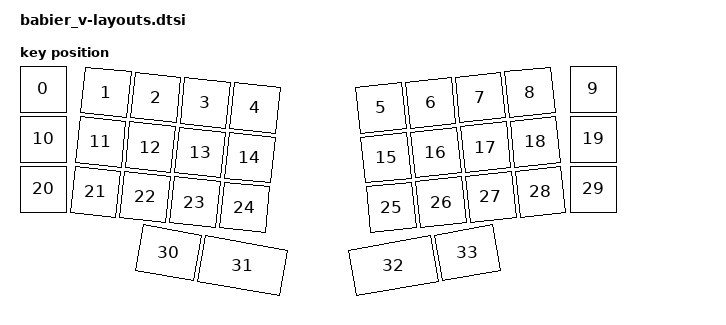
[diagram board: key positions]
#include <physical_layouts.dtsi>

/ {
    babier_v_layout: babier_v_layout {
        compatible = "zmk,physical-layout";
        display-name = "Default";

        keys  //                     w   h    x    y     rot    rx    ry
            = <&key_physical_attrs 100 100    0    0       0     0     0>
            , <&key_physical_attrs 100 100  100    0     600   100   300>
            , <&key_physical_attrs 100 100  200    0     600   100   300>
            , <&key_physical_attrs 100 100  300    0     600   100   300>
            , <&key_physical_attrs 100 100  400    0     600   100   300>
            , <&key_physical_attrs 100 100  700    0  (-600)  1100   300>
            , <&key_physical_attrs 100 100  800    0  (-600)  1100   300>
            , <&key_physical_attrs 100 100  900    0  (-600)  1100   300>
            , <&key_physical_attrs 100 100 1000    0  (-600)  1100   300>
            , <&key_physical_attrs 100 100 1100    0       0     0     0>
            , <&key_physical_attrs 100 100    0  100       0     0     0>
            , <&key_physical_attrs 100 100  100  100     600   100   300>
            , <&key_physical_attrs 100 100  200  100     600   100   300>
            , <&key_physical_attrs 100 100  300  100     600   100   300>
            , <&key_physical_attrs 100 100  400  100     600   100   300>
            , <&key_physical_attrs 100 100  700  100  (-600)  1100   300>
            , <&key_physical_attrs 100 100  800  100  (-600)  1100   300>
            , <&key_physical_attrs 100 100  900  100  (-600)  1100   300>
            , <&key_physical_attrs 100 100 1000  100  (-600)  1100   300>
            , <&key_physical_attrs 100 100 1100  100       0     0     0>
            , <&key_physical_attrs 100 100    0  200       0     0     0>
            , <&key_physical_attrs 100 100  100  200     600   100   300>
            , <&key_physical_attrs 100 100  200  200     600   100   300>
            , <&key_physical_attrs 100 100  300  200     600   100   300>
            , <&key_physical_attrs 100 100  400  200     600   100   300>
            , <&key_physical_attrs 100 100  700  200  (-600)  1100   300>
            , <&key_physical_attrs 100 100  800  200  (-600)  1100   300>
            , <&key_physical_attrs 100 100  900  200  (-600)  1100   300>
            , <&key_physical_attrs 100 100 1000  200  (-600)  1100   300>
            , <&key_physical_attrs 100 100 1100  200       0     0     0>
            , <&key_physical_attrs 125 100  250  300    1000   150   300>
            , <&key_physical_attrs 175 100  375  300    1000   150   300>
            , <&key_physical_attrs 175 100  650  300 (-1000)  1050   300>
            , <&key_physical_attrs 125 100  825  300 (-1000)  1050   300>
            ;
    };
};
